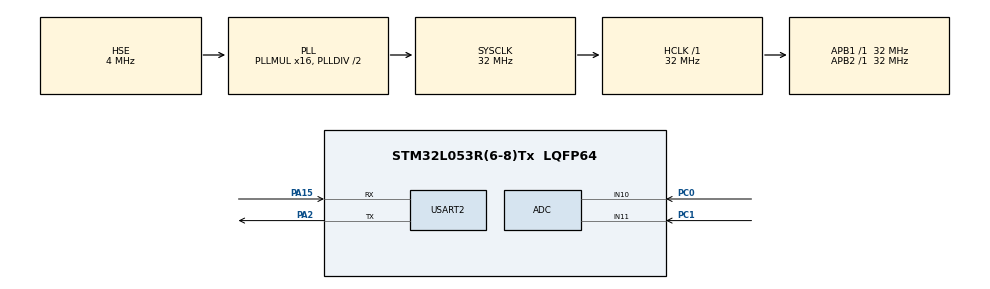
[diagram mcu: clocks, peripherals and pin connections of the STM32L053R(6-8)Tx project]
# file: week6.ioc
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ADC.ContinuousConvMode=ENABLE
Mcu.Family=STM32L0
Mcu.Name=STM32L053R(6-8)Tx
Mcu.Package=LQFP64
PA13.Mode=Serial_Wire
PA13.Signal=SYS_SWDIO
PA14.Mode=Serial_Wire
PA14.Signal=SYS_SWCLK
PA15.Mode=Asynchronous
PA15.Signal=USART2_RX
PA2.Mode=Asynchronous
PA2.Signal=USART2_TX
PC0.Mode=IN10
PC0.Signal=ADC_IN10
PC1.Mode=IN11
PC1.Signal=ADC_IN11
PH0-OSC_IN.Mode=HSE-External-Oscillator
PH0-OSC_IN.Signal=RCC_OSC_IN
PH1-OSC_OUT.Mode=HSE-External-Oscillator
PH1-OSC_OUT.Signal=RCC_OSC_OUT
ProjectManager.HeapSize=0x200
ProjectManager.StackSize=0x400
ProjectManager.TargetToolchain=MDK-ARM V5.27
RCC.AHBFreq_Value=32000000
RCC.APB1Freq_Value=32000000
RCC.APB1TimFreq_Value=32000000
RCC.APB2Freq_Value=32000000
RCC.APB2TimFreq_Value=32000000
RCC.HCLKFreq_Value=32000000
RCC.HSE_VALUE=4000000
RCC.HSI16_VALUE=16000000
RCC.HSI48_VALUE=48000000
RCC.HSI_VALUE=16000000
RCC.LSE_VALUE=32768
RCC.MSI_VALUE=2097000
RCC.PLLMUL=RCC_PLLMUL_16
RCC.PLLSourceVirtual=RCC_PLLSOURCE_HSE
RCC.SYSCLKFreq_VALUE=32000000
RCC.SYSCLKSource=RCC_SYSCLKSOURCE_PLLCLK
RCC.VCOOutputFreq_Value=64000000
USART2.VirtualMode-Asynchronous=VM_ASYNC
board=custom

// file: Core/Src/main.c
/* USER CODE BEGIN Header */
/**
  ******************************************************************************
  * @file           : main.c
  * @brief          : Main program body
  ******************************************************************************
  * @attention
  *
  * <h2><center>&copy; Copyright (c) 2021 STMicroelectronics.
  * All rights reserved.</center></h2>
  *
  * This software component is licensed by ST under BSD 3-Clause license,
  * the "License"; You may not use this file except in compliance with the
  * License. You may obtain a copy of the License at:
  *                        opensource.org/licenses/BSD-3-Clause
  *
  ******************************************************************************
  */
/* USER CODE END Header */
#include "main.h"
#include "adc.h"
#include "usart.h"
#include "gpio.h"

void SystemClock_Config(void);

/* USER CODE BEGIN 0 */
#include <stdio.h>
int fputc(int ch, FILE *f) {
  uint8_t temp[1] = {ch};
  HAL_UART_Transmit(&huart2, temp, 1, 2);
  return ch;
}
/* USER CODE END 0 */

int main(void)
{

  /* MCU Configuration--------------------------------------------------------*/

  /* Reset of all peripherals, Initializes the Flash interface and the Systick. */
  HAL_Init();

  /* Configure the system clock */
  SystemClock_Config();

  /* Initialize all configured peripherals */
  MX_GPIO_Init();
  MX_USART2_UART_Init();
  MX_ADC_Init();

  /* Infinite loop */
  /* USER CODE BEGIN WHILE */
  while (1)
  {
    HAL_ADC_Start(&hadc);
    HAL_ADC_PollForConversion(&hadc, 1000);
    uint32_t value = HAL_ADC_GetValue(&hadc);

    printf("ADC Value1:%d\r\n", value);
    printf("Voltage1:%.2fV\r\n", value*3.3/4096);
    value = HAL_ADC_GetValue(&hadc);

    printf("ADC Value2:%d\r\n", value);
    printf("Voltage2:%.2fV\r\n\r\n", value*3.3/4096);
    HAL_ADC_Stop(&hadc);
    HAL_Delay(500);
    /* USER CODE END WHILE */

  }
}

void SystemClock_Config(void)
{
  RCC_OscInitTypeDef RCC_OscInitStruct = {0};
  RCC_ClkInitTypeDef RCC_ClkInitStruct = {0};
  RCC_PeriphCLKInitTypeDef PeriphClkInit = {0};

  /** Configure the main internal regulator output voltage
  */
  __HAL_PWR_VOLTAGESCALING_CONFIG(PWR_REGULATOR_VOLTAGE_SCALE1);
  /** Initializes the RCC Oscillators according to the specified parameters
  * in the RCC_OscInitTypeDef structure.
  */
  RCC_OscInitStruct.OscillatorType = RCC_OSCILLATORTYPE_HSE;
  RCC_OscInitStruct.HSEState = RCC_HSE_ON;
  RCC_OscInitStruct.PLL.PLLState = RCC_PLL_ON;
  RCC_OscInitStruct.PLL.PLLSource = RCC_PLLSOURCE_HSE;
  RCC_OscInitStruct.PLL.PLLMUL = RCC_PLLMUL_16;
  RCC_OscInitStruct.PLL.PLLDIV = RCC_PLLDIV_2;
  if (HAL_RCC_OscConfig(&RCC_OscInitStruct) != HAL_OK)
  {
    Error_Handler();
  }
  /** Initializes the CPU, AHB and APB buses clocks
  */
  RCC_ClkInitStruct.ClockType = RCC_CLOCKTYPE_HCLK|RCC_CLOCKTYPE_SYSCLK
                              |RCC_CLOCKTYPE_PCLK1|RCC_CLOCKTYPE_PCLK2;
  RCC_ClkInitStruct.SYSCLKSource = RCC_SYSCLKSOURCE_PLLCLK;
  RCC_ClkInitStruct.AHBCLKDivider = RCC_SYSCLK_DIV1;
  RCC_ClkInitStruct.APB1CLKDivider = RCC_HCLK_DIV1;
  RCC_ClkInitStruct.APB2CLKDivider = RCC_HCLK_DIV1;

  if (HAL_RCC_ClockConfig(&RCC_ClkInitStruct, FLASH_LATENCY_1) != HAL_OK)
  {
    Error_Handler();
  }
  PeriphClkInit.PeriphClockSelection = RCC_PERIPHCLK_USART2;
  PeriphClkInit.Usart2ClockSelection = RCC_USART2CLKSOURCE_PCLK1;
  if (HAL_RCCEx_PeriphCLKConfig(&PeriphClkInit) != HAL_OK)
  {
    Error_Handler();
  }
}

void Error_Handler(void)
{
  __disable_irq();
  while (1)
  {
  }
}

/************************ (C) COPYRIGHT STMicroelectronics *****END OF FILE****/
